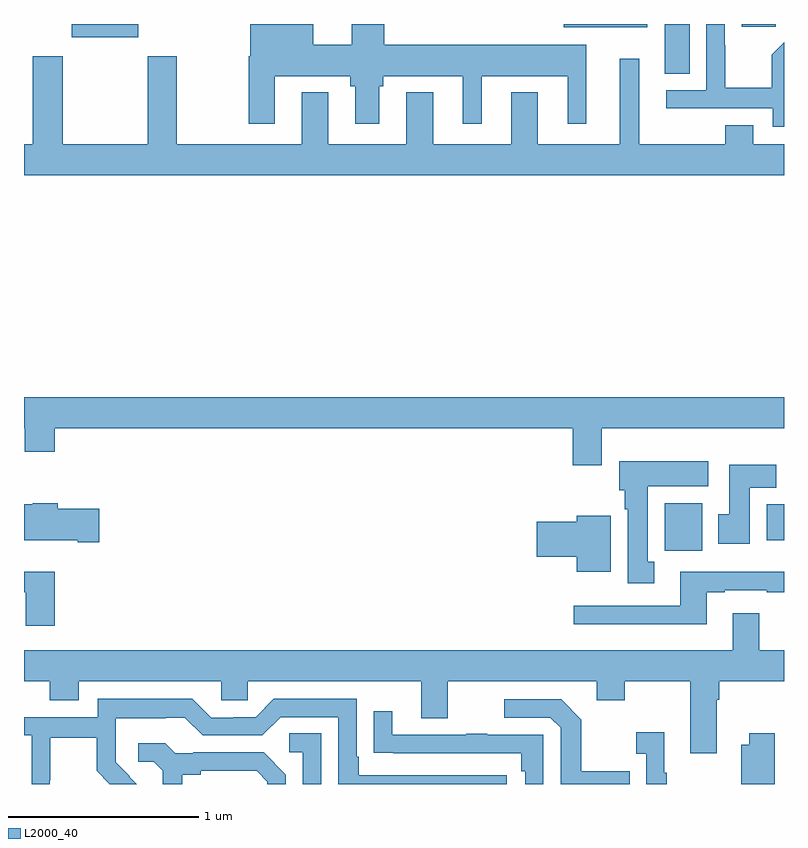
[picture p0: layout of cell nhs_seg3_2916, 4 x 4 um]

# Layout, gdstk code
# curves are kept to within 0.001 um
import gdstk
lib = gdstk.Library(unit=1e-6, precision=1e-09)
def R(c, l, rs):  # rectangles x0, y0, x1, y1
    for r in rs: c.add(gdstk.rectangle(r[:2], r[2:], *l))
def P(c, l, *ps):  # polygons
    for p in ps: c.add(gdstk.Polygon(p, *l))
L2000_40 = (2000, 40)

nhs_seg3_2916 = lib.new_cell('nhs_seg3_2916')
R(nhs_seg3_2916, L2000_40, [(266.373,677.628,266.569,677.878), (266.909,677.684,267,677.872), (266.372,680.137,266.503,680.4), (263.252,680.33,263.602,680.4), (265.842,680.384,266.281,680.4), (266.777,680.385,266.956,680.4)])
P(nhs_seg3_2916, L2000_40, [(264.319,680.126),(264.718,680.126),(264.718,680.073),(264.743,680.073),(264.743,679.875),(264.871,679.875),(264.871,680.073),(264.891,680.073),(264.891,680.126),(265.31,680.126),(265.31,679.875),(265.408,679.875),(265.408,680.126),(265.862,680.126),(265.862,679.875),(265.96,679.875),(265.96,680.29),(264.896,680.29),(264.896,680.4),(264.725,680.4),(264.725,680.29),(264.523,680.29),(264.523,680.4),(264.191,680.4),(264.191,680.23),(264.184,680.23),(264.184,679.875),(264.319,679.875)],
  [(267,680.304),(266.935,680.239),(266.935,680.065),(266.691,680.065),(266.691,680.288),(266.688,680.288),(266.688,680.4),(266.592,680.4),(266.592,680.052),(266.379,680.052),(266.379,679.956),(266.94,679.956),(266.94,679.859),(267,679.859)],
  [(267,679.768),(266.839,679.768),(266.839,679.867),(266.692,679.867),(266.692,679.768),(266.239,679.768),(266.239,680.218),(266.135,680.218),(266.135,679.768),(265.705,679.768),(265.705,680.041),(265.565,680.041),(265.565,679.768),(265.153,679.768),(265.153,680.041),(265.013,680.041),(265.013,679.768),(264.601,679.768),(264.601,680.041),(264.461,680.041),(264.461,679.768),(263.805,679.768),(263.805,680.23),(263.65,680.23),(263.65,679.768),(263.205,679.768),(263.205,680.23),(263.045,680.23),(263.045,679.768),(263,679.768),(263,679.604),(267,679.604)],
  [(266.041,678.272),(267,678.272),(267,678.436),(263,678.436),(263,678.272),(263.005,678.272),(263.005,678.148),(263.162,678.148),(263.162,678.272),(265.889,678.272),(265.889,678.078),(266.041,678.078)],
  [(266.317,677.569),(266.284,677.569),(266.284,677.966),(266.602,677.966),(266.602,678.1),(266.132,678.1),(266.132,677.946),(266.162,677.946),(266.162,677.846),(266.177,677.846),(266.177,677.457),(266.317,677.457)],
  [(266.821,677.96),(266.96,677.96),(266.96,678.079),(266.711,678.079),(266.711,677.82),(266.654,677.82),(266.654,677.664),(266.821,677.664)],
  [(263.395,677.85),(263.177,677.85),(263.177,677.878),(263.046,677.878),(263.046,677.872),(263,677.872),(263,677.684),(263.282,677.684),(263.282,677.672),(263.395,677.672)],
  [(266.089,677.812),(265.91,677.812),(265.91,677.78),(265.698,677.78),(265.698,677.597),(265.91,677.597),(265.91,677.516),(266.089,677.516)],
  [(266.593,677.409),(266.689,677.409),(266.689,677.421),(266.909,677.421),(266.909,677.409),(267,677.409),(267,677.518),(266.453,677.518),(266.453,677.337),(265.893,677.337),(265.893,677.24),(266.593,677.24)],
  [(263.162,677.518),(263,677.518),(263,677.409),(263.009,677.409),(263.009,677.232),(263.162,677.232)],
  [(266.647,676.844),(266.66,676.844),(266.66,676.94),(267,676.94),(267,677.104),(266.869,677.104),(266.869,677.299),(266.729,677.299),(266.729,677.104),(263,677.104),(263,676.94),(263.135,676.94),(263.135,676.841),(263.287,676.841),(263.287,676.94),(264.039,676.94),(264.039,676.842),(264.177,676.842),(264.177,676.94),(265.091,676.94),(265.091,676.746),(265.231,676.746),(265.231,676.94),(266.015,676.94),(266.015,676.841),(266.163,676.841),(266.163,676.94),(266.507,676.94),(266.507,676.563),(266.647,676.563)],
  [(263.136,676.42),(263.139,676.42),(263.139,676.644),(263.383,676.644),(263.383,676.469),(263.452,676.4),(263.594,676.4),(263.482,676.514),(263.482,676.611),(263.484,676.611),(263.484,676.745),(263.747,676.745),(263.747,676.749),(263.847,676.749),(263.94,676.656),(264.255,676.656),(264.351,676.752),(264.654,676.752),(264.654,676.4),(265.54,676.4),(265.54,676.446),(264.763,676.446),(264.763,676.543),(264.75,676.543),(264.75,676.848),(264.315,676.848),(264.219,676.752),(264.101,676.752),(264.101,676.749),(263.985,676.749),(263.885,676.849),(263.388,676.849),(263.388,676.752),(263,676.752),(263,676.656),(263.04,676.656),(263.04,676.4),(263.136,676.4)],
  [(266.189,676.467),(265.933,676.467),(265.933,676.739),(265.827,676.845),(265.527,676.845),(265.527,676.749),(265.77,676.749),(265.824,676.695),(265.824,676.4),(266.189,676.4)],
  [(265.734,676.659),(265.439,676.659),(265.439,676.664),(265.327,676.664),(265.327,676.659),(264.937,676.659),(264.937,676.783),(264.841,676.783),(264.841,676.564),(264.943,676.564),(264.943,676.563),(265.618,676.563),(265.618,676.466),(265.638,676.466),(265.638,676.4),(265.734,676.4)],
  [(266.383,676.459),(266.371,676.459),(266.371,676.672),(266.223,676.672),(266.223,676.559),(266.274,676.559),(266.274,676.4),(266.383,676.4)],
  [(264.564,676.667),(264.396,676.667),(264.396,676.566),(264.468,676.566),(264.468,676.4),(264.564,676.4)],
  [(266.951,676.666),(266.816,676.666),(266.816,676.606),(266.776,676.606),(266.776,676.4),(266.951,676.4)],
  [(263.833,676.448),(263.929,676.448),(263.929,676.47),(264.224,676.47),(264.281,676.413),(264.281,676.4),(264.378,676.4),(264.378,676.45),(264.262,676.566),(263.89,676.566),(263.89,676.563),(263.796,676.563),(263.744,676.615),(263.601,676.615),(263.601,676.518),(263.682,676.518),(263.729,676.471),(263.729,676.4),(263.833,676.4)])

lib.write_gds('nhs_seg3_2916.gds')
